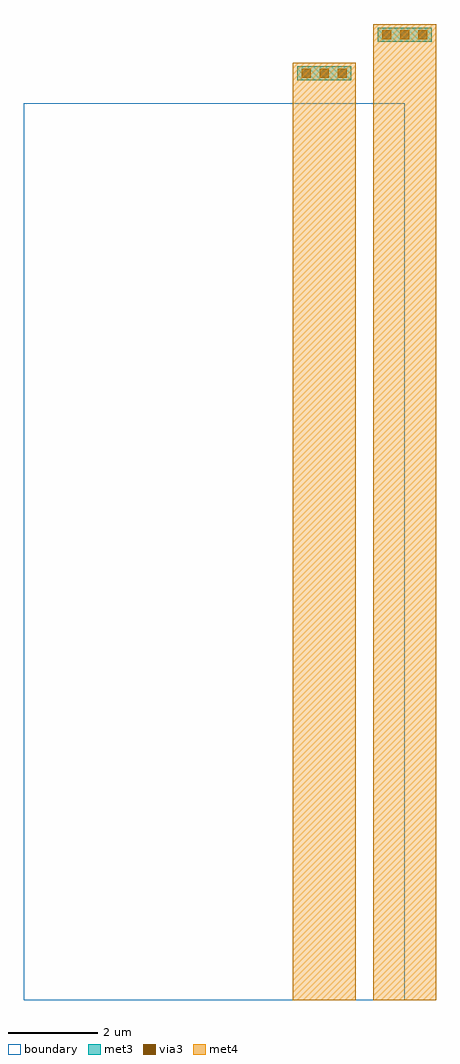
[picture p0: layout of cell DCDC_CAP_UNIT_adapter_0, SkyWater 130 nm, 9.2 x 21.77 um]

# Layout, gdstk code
import gdstk
lib = gdstk.Library(unit=1e-6, precision=1e-09)
def R(c, l, rs):  # rectangles x0, y0, x1, y1
    for r in rs: c.add(gdstk.rectangle(r[:2], r[2:], *l))
def A(c, l, x, y, w, h, nx, ny, dx, dy):  # array of equal rectangles
    R(c, l, [(x+i*dx, y+j*dy, x+i*dx+w, y+j*dy+h) for i in range(nx) for j in range(ny)])
met3 = (70, 20)
via3 = (70, 44)
met4 = (71, 20)
boundary = (235, 4)

via_via3_1200x480 = lib.new_cell('VIA_via3_1200x480')
R(via_via3_1200x480, met3, [(-0.6,-0.16,0.6,0.16)])
A(via_via3_1200x480, via3, -0.5, -0.1, 0.2, 0.2, 3, 1, 0.4, 0)
R(via_via3_1200x480, met4, [(-0.6,-0.24,0.6,0.24)])

dcdc_cap_unit_adapter_0 = lib.new_cell('DCDC_CAP_UNIT_adapter_0')
R(dcdc_cap_unit_adapter_0, met4, [(6,0,7.4,20.91), (7.8,0,9.2,21.77)])
R(dcdc_cap_unit_adapter_0, boundary, [(0,0,8.495,20)])
dcdc_cap_unit_adapter_0.add(gdstk.Reference(via_via3_1200x480, (8.5,21.53)))
dcdc_cap_unit_adapter_0.add(gdstk.Reference(via_via3_1200x480, (6.7,20.67)))

lib.write_gds('DCDC_CAP_UNIT_adapter_0.gds')
